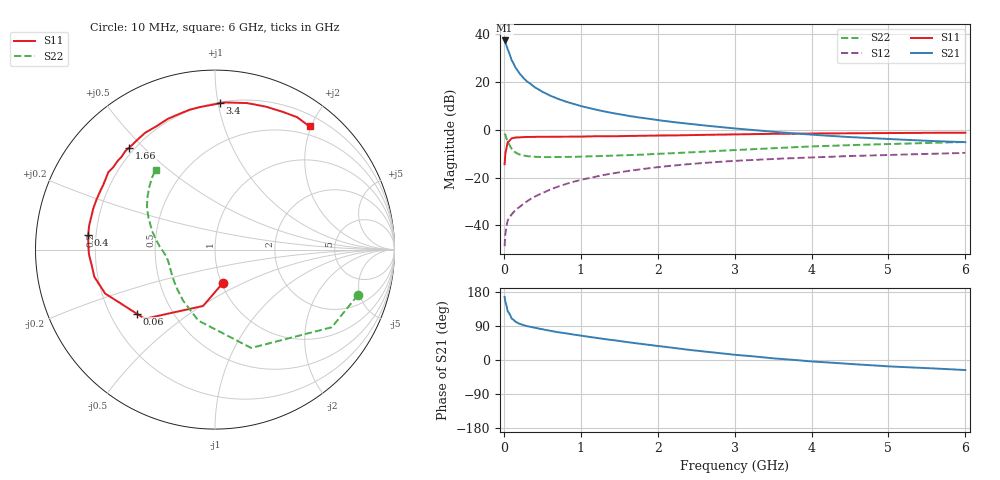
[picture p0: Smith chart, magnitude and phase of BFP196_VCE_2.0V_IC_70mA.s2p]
! Infineon Technologies  Discrete & RF Semiconductors
! BFP196
! VCE = 2.0 V,  IC =  70mA
! Common Emitter S-Parameters:  Jan 2016
# GHz  S  MA  R  50
!  f  S11  S21  S12  S22
! GHz  MAG  ANG  MAG  ANG  MAG  ANG  MAG  ANG
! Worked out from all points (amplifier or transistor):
!   210 points, 10 MHz to 6 GHz, reference 50 ohm
!   highest |S21| = 37.3 dB at 10 MHz (marker M1)
!   |S21| within 3 dB of that: start of sweep to 42.43 MHz
!   unconditionally stable (mu >= 1): 371.9 MHz to 4.939 GHz
!   at 185 MHz: K = 0.82, MSG = 28.6 dB, |S12| = -32.7 dB
!   at 1.52 GHz: K = 1.09, MAG = 10.2 dB, |S12| = -17.7 dB
!   at 6 GHz: K = 1.00, MSG = 2.2 dB, |S12| = -9.7 dB
!   S11 on the Smith chart (normalised r, x): 10 MHz: 1.02, -0.39; 60 MHz: 0.31, -0.33; 400 MHz: 0.17, +0.06; 1.66 GHz: 0.18, +0.45; 3.4 GHz: 0.21, +1.01; 6 GHz: 0.36, +1.97
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0.01  0.1908 -76.7  73.23 166.4  0.0037 76.1  0.8348 -17.7
0.02  0.321 -101.9  67.19 153.4  0.0066 68.2  0.7816 -33.6
0.05  0.5491 -135.4  48.08 128.5  0.0128 55.3  0.5838 -69.8
0.06  0.5632 -140.6  43.96 126.1  0.0136 54.1  0.5367 -74.6
0.1  0.6593 -158.2  28.81 109.7  0.017 50.6  0.4062 -103.2
0.15  0.6893 -167.3  20.03 101.0  0.0208 52.7  0.3365 -121.6
0.2  0.6934 -173.5  15.27 95.7  0.0241 56.3  0.3058 -133.1
0.26  0.7033 -178.4  11.83 91.5  0.0286 59.3  0.2879 -142.7
0.3  0.7055 179.1  10.25 89.3  0.032 61.1  0.2813 -147.1
0.4  0.7111 173.4  7.758 84.8  0.0399 63.7  0.2725 -155.1
0.5  0.7139 169.3  6.209 81.0  0.0474 64.7  0.2685 -160.2
0.6  0.7129 165.1  5.172 77.1  0.0561 65.5  0.2682 -163.8
0.8  0.7165 157.9  3.892 70.5  0.073 64.2  0.2703 -168.5
1.02  0.7195 149.9  3.074 63.8  0.0911 62.2  0.2743 -172.2
1.3  0.7294 140.9  2.419 55.5  0.1137 58.8  0.2833 -176.0
1.66  0.7425 130.3  1.902 45.7  0.1409 53.8  0.2971 179.6
2.02  0.7581 120.3  1.576 36.6  0.1666 48.1  0.3145 175.0
3.1  0.8012 94.1  1.031 12.2  0.2282 31.6  0.3825 159.7
3.4  0.8152 88.2  0.935 6.5  0.2412 27.5  0.4045 155.5
4.1  0.8366 76.1  0.77 -5.0  0.2678 18.7  0.4541 146.5
5.1  0.8569 62.7  0.63 -17.7  0.3011 7.4  0.5083 135.8
6  0.8649 52.5  0.55 -26.5  0.3286 -2.6  0.5555 126.6
